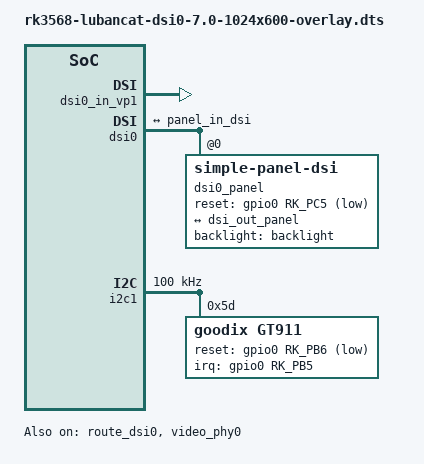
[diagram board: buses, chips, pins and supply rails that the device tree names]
/dts-v1/;
/plugin/;

#include <dt-bindings/gpio/gpio.h>
#include <dt-bindings/pinctrl/rockchip.h>
#include <dt-bindings/display/drm_mipi_dsi.h>
#include <dt-bindings/interrupt-controller/irq.h>

/ {
	fragment@0 {
		target = <&route_dsi0>;

		__overlay__ {
			status = "okay";
			connect = <&vp1_out_dsi0>;
		};
	};

	fragment@1 {
		target = <&video_phy0>;

		__overlay__ {
			status = "okay";
		};
	};

	fragment@2 {
		target = <&dsi0_in_vp0>;

		__overlay__ {
			status = "disabled";
		};
	};

	fragment@3 {
		target = <&dsi0_in_vp1>;

		__overlay__ {
			status = "okay";
		};
	};

	fragment@4 {
		target = <&dsi0>;

		__overlay__ {
			status = "okay";
			power-supply = <&mipi_dsi0_power>;
			#address-cells = <1>;
			#size-cells = <0>;

			dsi0_panel: panel@0 {
				compatible = "simple-panel-dsi";
				reg = <0>;
				backlight = <&backlight>;
				reset-gpios = <&gpio0 RK_PC5 GPIO_ACTIVE_LOW>;

				enable-delay-ms = <35>;
				prepare-delay-ms = <6>;
				reset-delay-ms = <0>;
				init-delay-ms = <20>;
				unprepare-delay-ms = <0>;
				disable-delay-ms = <20>;

				size,width = <74>;
				size,height = <133>;

				dsi,flags = <(MIPI_DSI_MODE_VIDEO | MIPI_DSI_MODE_VIDEO_BURST | MIPI_DSI_MODE_LPM)>;
				dsi,format = <MIPI_DSI_FMT_RGB888>;
				dsi,lanes  = <4>;

				panel-init-sequence = [
					15 00 02 80 AC
					15 00 02 81 B8
					15 00 02 82 09
					15 00 02 83 78
					15 00 02 84 7f
					15 00 02 85 bb
					15 00 02 86 70
				];

				panel-exit-sequence = [
					05 78 01 28
					05 00 01 10
				];

				disp_timings0: display-timings {
					native-mode = <&dsi0_timing0>;
					dsi0_timing0: timing0 {
						clock-frequency = <51669000>;
						hactive = <1024>;
						vactive = <600>;
						hsync-len = <10>;
						hback-porch = <160>;
						hfront-porch = <160>;
						vsync-len = <1>;
						vback-porch = <23>;
						vfront-porch = <12>;
						hsync-active = <0>;
						vsync-active = <0>;
						de-active = <0>;
						pixelclk-active = <0>;
					};
				};

				ports {
					#address-cells = <1>;
					#size-cells = <0>;
					port@0 {
						reg = <0>;
						panel_in_dsi: endpoint {
							remote-endpoint = <&dsi_out_panel>;
						};
					};
				};
			};

			ports {
				#address-cells = <1>;
				#size-cells = <0>;

				port@1 {
					reg = <1>;
					dsi_out_panel: endpoint {
						remote-endpoint = <&panel_in_dsi>;
					};
				};
			};
		};
	};

	fragment@5 {
		target = <&i2c1>;

		__overlay__ {
			status = "okay";
			clock-frequency = <100000>;
			#address-cells = <1>;
			#size-cells = <0>;

			gt911: gt911@5d {
				status = "okay";
				compatible = "goodix,gt911";
				reg = <0x5d>;
				interrupt-parent = <&gpio0>;
				interrupts = <RK_PB5 IRQ_TYPE_LEVEL_LOW>;
				reset-gpios = <&gpio0 RK_PB6 GPIO_ACTIVE_LOW>;
				irq-gpios = <&gpio0 RK_PB5 GPIO_ACTIVE_HIGH>;
				touchscreen-inverted-x = <1>;
				touchscreen-inverted-y = <1>;
			};
		};
	};
};
